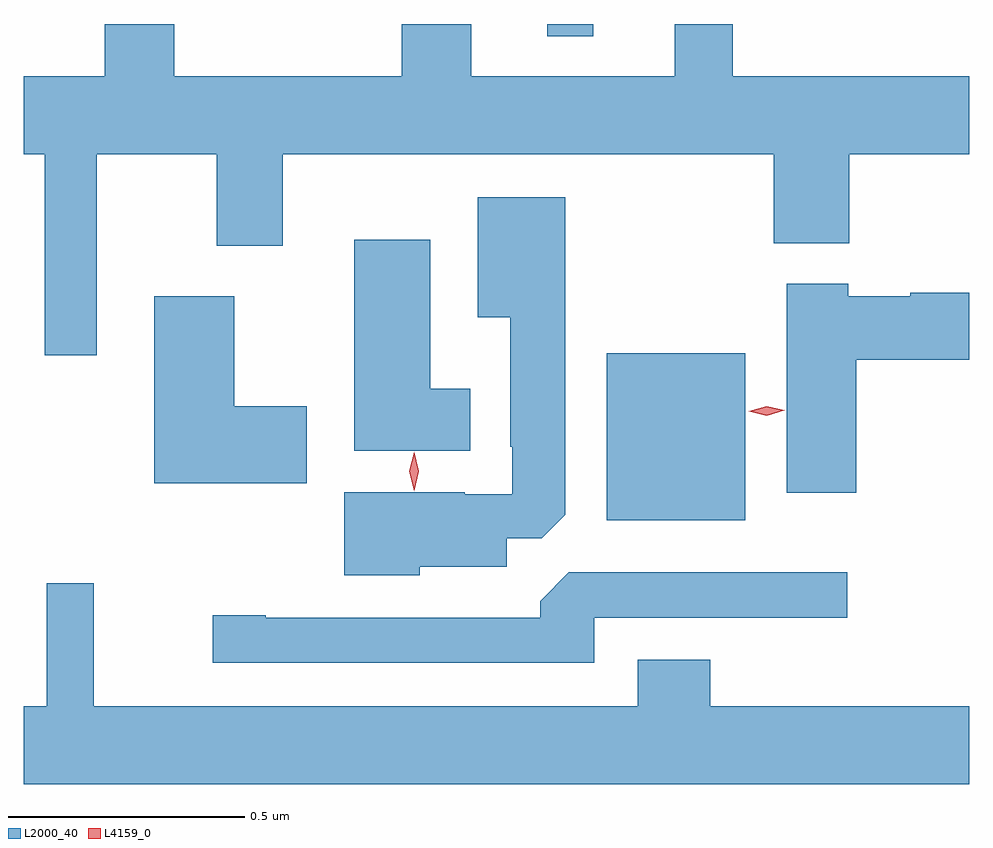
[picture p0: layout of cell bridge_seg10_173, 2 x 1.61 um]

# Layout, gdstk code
import gdstk
lib = gdstk.Library(unit=1e-6, precision=1e-09)
def R(c, l, rs):  # rectangles x0, y0, x1, y1
    for r in rs: c.add(gdstk.rectangle(r[:2], r[2:], *l))
def P(c, l, *ps):  # polygons
    for p in ps: c.add(gdstk.Polygon(p, *l))
L2000_40 = (2000, 40)
L4159_0 = (4159, 0)

bridge_seg10_173 = lib.new_cell('bridge_seg10_173')
R(bridge_seg10_173, L2000_40, [(227.795,1283.558,228.088,1283.911), (227.669,1284.581,227.767,1284.607)])
P(bridge_seg10_173, L2000_40, [(228.062,1284.607),(227.939,1284.607),(227.939,1284.496),(227.509,1284.496),(227.509,1284.607),(227.362,1284.607),(227.362,1284.496),(226.881,1284.496),(226.881,1284.607),(226.734,1284.607),(226.734,1284.496),(226.562,1284.496),(226.562,1284.332),(226.607,1284.332),(226.607,1283.907),(226.717,1283.907),(226.717,1284.332),(226.97,1284.332),(226.97,1284.138),(227.11,1284.138),(227.11,1284.332),(228.148,1284.332),(228.148,1284.143),(228.308,1284.143),(228.308,1284.332),(228.562,1284.332),(228.562,1284.496),(228.062,1284.496)],
  [(227.4,1283.459),(227.584,1283.459),(227.584,1283.52),(227.658,1283.52),(227.707,1283.569),(227.707,1284.241),(227.522,1284.241),(227.522,1283.987),(227.591,1283.987),(227.591,1283.713),(227.595,1283.713),(227.595,1283.613),(227.495,1283.613),(227.495,1283.617),(227.24,1283.617),(227.24,1283.441),(227.4,1283.441)],
  [(227.506,1283.836),(227.422,1283.836),(227.422,1284.151),(227.261,1284.151),(227.261,1283.705),(227.506,1283.705)],
  [(228.323,1283.897),(228.562,1283.897),(228.562,1284.039),(228.437,1284.039),(228.437,1284.031),(228.306,1284.031),(228.306,1284.058),(228.176,1284.058),(228.176,1283.616),(228.323,1283.616)],
  [(227.161,1283.799),(227.008,1283.799),(227.008,1284.031),(226.838,1284.031),(226.838,1283.636),(227.161,1283.636)],
  [(227.769,1283.352),(228.304,1283.352),(228.304,1283.448),(227.715,1283.448),(227.654,1283.386),(227.654,1283.352),(227.074,1283.352),(227.074,1283.357),(226.962,1283.357),(226.962,1283.256),(227.769,1283.256)],
  [(226.611,1283.425),(226.611,1283.164),(226.562,1283.164),(226.562,1283),(228.562,1283),(228.562,1283.164),(228.014,1283.164),(228.014,1283.263),(227.861,1283.263),(227.861,1283.164),(226.71,1283.164),(226.71,1283.425)])
P(bridge_seg10_173, L4159_0, [(228.133,1283.779),(228.095,1283.788),(228.094,1283.788),(228.095,1283.788),(228.133,1283.799),(228.172,1283.79),(228.172,1283.79),(228.172,1283.79)],
  [(227.388,1283.62),(227.388,1283.62),(227.378,1283.661),(227.388,1283.702),(227.388,1283.702),(227.388,1283.702),(227.398,1283.661),(227.388,1283.62)])

lib.write_gds('bridge_seg10_173.gds')
